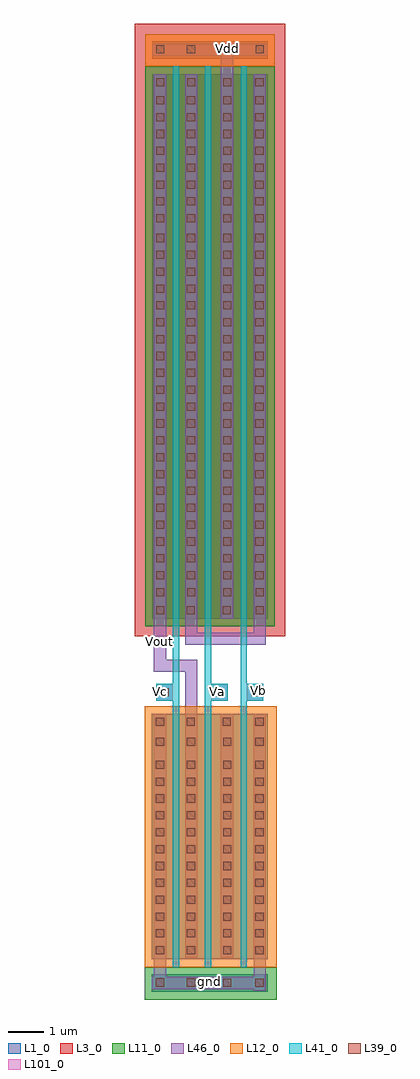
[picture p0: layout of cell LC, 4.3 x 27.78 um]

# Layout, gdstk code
import gdstk
lib = gdstk.Library(unit=1e-6, precision=1e-09)
def R(c, l, rs):  # rectangles x0, y0, x1, y1
    for r in rs: c.add(gdstk.rectangle(r[:2], r[2:], *l))
def A(c, l, x, y, w, h, nx, ny, dx, dy):  # array of equal rectangles
    R(c, l, [(x+i*dx, y+j*dy, x+i*dx+w, y+j*dy+h) for i in range(nx) for j in range(ny)])
L1_0 = (1, 0)
L3_0 = (3, 0)
L11_0 = (11, 0)
L12_0 = (12, 0)
L39_0 = (39, 0)
L41_0 = (41, 0)
L46_0 = (46, 0)
L101_0 = (101, 0)

c_lc = lib.new_cell('LC')
R(c_lc, L1_0, [(5.149,-11.02,8.45,-10.52), (5.149,-10.1,8.45,-3.1), (5.158,-0.401,8.454,15.099), (5.158,15.539,8.454,16.039)])
R(c_lc, L3_0, [(4.658,-0.901,8.954,16.539)])
R(c_lc, L11_0, [(4.943,-11.24,8.7,-10.32), (4.958,-0.616,8.654,15.319)])
R(c_lc, L12_0, [(4.949,-10.32,8.7,-2.9), (4.958,15.319,8.654,16.239)])
A(c_lc, L39_0, 5.269, -9.955, 0.23, 0.23, 1, 12, 0, 0.48)
A(c_lc, L39_0, 6.151, -9.955, 0.23, 0.23, 1, 12, 0, 0.48)
A(c_lc, L39_0, 7.177, -9.955, 0.23, 0.23, 1, 12, 0, 0.48)
A(c_lc, L39_0, 8.099, -9.955, 0.23, 0.23, 1, 12, 0, 0.48)
A(c_lc, L39_0, 5.278, 0.24, 0.23, 0.23, 1, 22, 0, 0.48)
A(c_lc, L39_0, 6.151, 0.72, 0.23, 0.23, 1, 21, 0, 0.48)
A(c_lc, L39_0, 7.177, 0.72, 0.23, 0.23, 1, 21, 0, 0.48)
A(c_lc, L39_0, 8.099, 0.72, 0.23, 0.23, 1, 21, 0, 0.48)
A(c_lc, L39_0, 5.278, 10.88, 0.23, 0.23, 1, 8, 0, 0.48)
A(c_lc, L39_0, 6.151, 10.88, 0.23, 0.23, 1, 8, 0, 0.48)
A(c_lc, L39_0, 7.177, 10.88, 0.23, 0.23, 1, 8, 0, 0.48)
A(c_lc, L39_0, 8.099, 10.88, 0.23, 0.23, 1, 8, 0, 0.48)
R(c_lc, L39_0, [(7.177,-10.88,7.407,-10.65), (8.099,-10.88,8.329,-10.65), (5.269,-10.87,5.499,-10.64), (6.151,-10.87,6.381,-10.64), (5.269,-4.015,5.499,-3.785), (6.151,-4.015,6.381,-3.785), (7.177,-4.015,7.407,-3.785), (8.099,-4.015,8.329,-3.785), (5.269,-3.45,5.499,-3.22), (6.146,-3.45,6.376,-3.22), (7.173,-3.45,7.403,-3.22), (8.1,-3.45,8.33,-3.22), (5.398,-2.61,5.628,-2.38), (6.96,-2.61,7.19,-2.38), (7.977,-2.61,8.207,-2.38), (5.278,-0.281,5.508,-0.051), (6.146,-0.281,6.376,-0.051), (7.173,-0.281,7.403,-0.051), (8.104,-0.281,8.334,-0.051), (6.155,0.24,6.385,0.47), (7.182,0.24,7.412,0.47), (8.104,0.24,8.334,0.47), (5.278,14.749,5.508,14.979), (6.16,14.749,6.39,14.979), (7.177,14.749,7.407,14.979), (8.099,14.749,8.329,14.979), (5.278,15.689,5.508,15.919), (6.151,15.689,6.381,15.919), (7.177,15.689,7.407,15.919), (8.102,15.689,8.332,15.919)])
R(c_lc, L41_0, [(5.748,-10.32,5.928,15.319), (6.66,-10.32,6.84,15.319), (7.677,-10.32,7.857,15.319), (5.278,-2.73,5.748,-2.26), (6.84,-2.73,7.31,-2.26), (7.857,-2.73,8.327,-2.26)])
R(c_lc, L46_0, [(8.048,-10.993,8.398,-3.1), (5.149,-10.945,8.391,-10.595), (5.209,-10.945,5.559,-3.1), (6.1,-10.055,6.45,-1.565), (7.117,-10.055,7.467,-3.1), (5.278,-2.73,5.748,-2.26), (6.84,-2.73,7.31,-2.26), (7.857,-2.73,8.327,-2.26), (5.209,-1.915,6.45,-1.565), (5.209,-1.915,5.559,15.099), (6.1,-1.15,8.398,-0.8), (6.1,-1.15,6.45,15.099), (8.048,-1.15,8.398,15.099), (7.117,-0.401,7.467,15.964), (5.158,15.614,8.454,15.964)])
R(c_lc, L101_0, [(5.275,-1.15,5.475,-0.95)])
c_lc.add(gdstk.Label('Vb', (8.185,-2.45), layer=101, texttype=0))
c_lc.add(gdstk.Label('Va', (7.033,-2.475), layer=101, texttype=0))
c_lc.add(gdstk.Label('Vc', (5.41,-2.465), layer=101, texttype=0))
c_lc.add(gdstk.Label('gnd', (6.785,-10.72), layer=101, texttype=0))
c_lc.add(gdstk.Label('Vdd', (7.3,15.84), layer=101, texttype=0))
c_lc.add(gdstk.Label('Vout', (5.375,-1.05), layer=101, texttype=0))

lib.write_gds('LC.gds')
